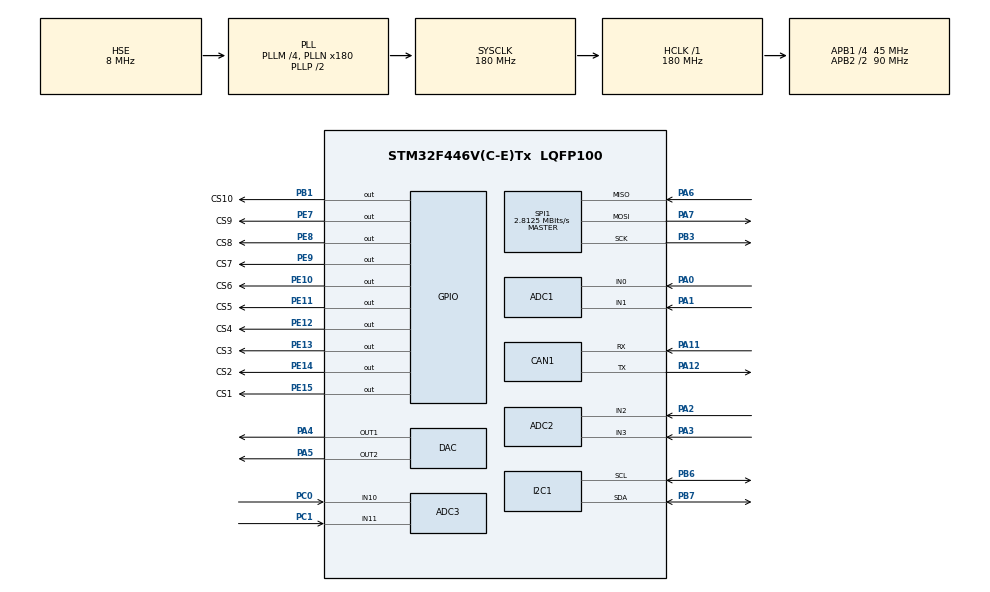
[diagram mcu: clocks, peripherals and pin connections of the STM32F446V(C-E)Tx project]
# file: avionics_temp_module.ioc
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ADC1.Channel-0\#ChannelRegularConversion=ADC_CHANNEL_0
ADC1.ClockPrescaler=ADC_CLOCK_SYNC_PCLK_DIV4
ADC1.NbrOfConversionFlag=1
ADC1.Rank-0\#ChannelRegularConversion=1
ADC1.SamplingTime-0\#ChannelRegularConversion=ADC_SAMPLETIME_3CYCLES
ADC1.master=1
ADC2.Channel-10\#ChannelRegularConversion=ADC_CHANNEL_2
ADC2.ClockPrescaler=ADC_CLOCK_SYNC_PCLK_DIV4
ADC2.NbrOfConversionFlag=1
ADC2.Rank-10\#ChannelRegularConversion=1
ADC2.SamplingTime-10\#ChannelRegularConversion=ADC_SAMPLETIME_3CYCLES
ADC3.Channel-4\#ChannelRegularConversion=ADC_CHANNEL_10
ADC3.ClockPrescaler=ADC_CLOCK_SYNC_PCLK_DIV4
ADC3.NbrOfConversionFlag=1
ADC3.Rank-4\#ChannelRegularConversion=1
ADC3.SamplingTime-4\#ChannelRegularConversion=ADC_SAMPLETIME_3CYCLES
CAN1.BS1=CAN_BS1_1TQ
CAN1.BS2=CAN_BS2_1TQ
CAN1.CalculateTimeBit=1066
CAN1.CalculateTimeQuantum=355.55555555555554
Mcu.Family=STM32F4
Mcu.Name=STM32F446V(C-E)Tx
Mcu.Package=LQFP100
NVIC.PriorityGroup=NVIC_PRIORITYGROUP_4
PA0-WKUP.Signal=ADCx_IN0
PA1.Signal=ADCx_IN1
PA11.Mode=Master
PA11.Signal=CAN1_RX
PA12.Mode=Master
PA12.Signal=CAN1_TX
PA13.Mode=Serial_Wire
PA13.Signal=SYS_JTMS-SWDIO
PA14.Mode=Serial_Wire
PA14.Signal=SYS_JTCK-SWCLK
PA2.Signal=ADCx_IN2
PA3.Signal=ADCx_IN3
PA4.Signal=COMP_DAC1_group
PA5.Signal=COMP_DAC2_group
PA6.Mode=Full_Duplex_Master
PA6.Signal=SPI1_MISO
PA7.Mode=Full_Duplex_Master
PA7.Signal=SPI1_MOSI
PB1.GPIO_Label=CS10
PB1.PinState=GPIO_PIN_SET
PB1.Signal=GPIO_Output
PB3.Mode=Full_Duplex_Master
PB3.Signal=SPI1_SCK
PB6.Mode=I2C
PB6.Signal=I2C1_SCL
PB7.Mode=I2C
PB7.Signal=I2C1_SDA
PC0.Signal=ADCx_IN10
PC1.Signal=ADCx_IN11
PE10.GPIO_Label=CS6
PE10.PinState=GPIO_PIN_SET
PE10.Signal=GPIO_Output
PE11.GPIO_Label=CS5
PE11.PinState=GPIO_PIN_SET
PE11.Signal=GPIO_Output
PE12.GPIO_Label=CS4
PE12.PinState=GPIO_PIN_SET
PE12.Signal=GPIO_Output
PE13.GPIO_Label=CS3
PE13.PinState=GPIO_PIN_SET
PE13.Signal=GPIO_Output
PE14.GPIO_Label=CS2
PE14.PinState=GPIO_PIN_SET
PE14.Signal=GPIO_Output
PE15.GPIO_Label=CS1
PE15.PinState=GPIO_PIN_SET
PE15.Signal=GPIO_Output
PE7.GPIO_Label=CS9
PE7.PinState=GPIO_PIN_SET
PE7.Signal=GPIO_Output
PE8.GPIO_Label=CS8
PE8.PinState=GPIO_PIN_SET
PE8.Signal=GPIO_Output
PE9.GPIO_Label=CS7
PE9.PinState=GPIO_PIN_SET
PE9.Signal=GPIO_Output
PH0-OSC_IN.Mode=HSE-External-Oscillator
PH0-OSC_IN.Signal=RCC_OSC_IN
PH1-OSC_OUT.Mode=HSE-External-Oscillator
PH1-OSC_OUT.Signal=RCC_OSC_OUT
ProjectManager.HeapSize=0x200
ProjectManager.StackSize=0x400
ProjectManager.TargetToolchain=TrueSTUDIO
RCC.AHBFreq_Value=180000000
RCC.APB1CLKDivider=RCC_HCLK_DIV4
RCC.APB1Freq_Value=45000000
RCC.APB1TimFreq_Value=90000000
RCC.APB2CLKDivider=RCC_HCLK_DIV2
RCC.APB2Freq_Value=90000000
RCC.APB2TimFreq_Value=180000000
RCC.CortexFreq_Value=180000000
RCC.HCLKFreq_Value=180000000
RCC.HSE_VALUE=8000000
RCC.PLLM=4
RCC.PLLN=180
RCC.PLLSourceVirtual=RCC_PLLSOURCE_HSE
RCC.SYSCLKFreq_VALUE=180000000
RCC.SYSCLKSource=RCC_SYSCLKSOURCE_PLLCLK
RCC.USBFreq_Value=180000000
RCC.VCOOutputFreq_Value=360000000
SH.ADCx_IN0.0=ADC1_IN0,IN0
SH.ADCx_IN1.0=ADC1_IN1,IN1
SH.ADCx_IN10.0=ADC3_IN10,IN10
SH.ADCx_IN11.0=ADC3_IN11,IN11
SH.ADCx_IN2.0=ADC2_IN2,IN2
SH.ADCx_IN3.0=ADC2_IN3,IN3
SH.COMP_DAC1_group.0=DAC_OUT1,DAC_OUT1
SH.COMP_DAC2_group.0=DAC_OUT2,DAC_OUT2
SPI1.BaudRatePrescaler=SPI_BAUDRATEPRESCALER_32
SPI1.CLKPhase=SPI_PHASE_2EDGE
SPI1.CLKPolarity=SPI_POLARITY_HIGH
SPI1.CalculateBaudRate=2.8125 MBits/s
SPI1.DataSize=SPI_DATASIZE_8BIT
SPI1.Direction=SPI_DIRECTION_2LINES
SPI1.Mode=SPI_MODE_MASTER
SPI1.VirtualType=VM_MASTER
board=avionics_temp_module

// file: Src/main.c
/**
  ******************************************************************************
  * File Name          : main.c
  * Description        : Main program body
  ******************************************************************************
  ** This notice applies to any and all portions of this file
  * that are not between comment pairs USER CODE BEGIN and
  * USER CODE END. Other portions of this file, whether
  * inserted by the user or by software development tools
  * are owned by their respective copyright owners.
  *
  * COPYRIGHT(c) 2018 STMicroelectronics
  *
  * Redistribution and use in source and binary forms, with or without modification,
  * are permitted provided that the following conditions are met:
  *   1. Redistributions of source code must retain the above copyright notice,
  *      this list of conditions and the following disclaimer.
  *   2. Redistributions in binary form must reproduce the above copyright notice,
  *      this list of conditions and the following disclaimer in the documentation
  *      and/or other materials provided with the distribution.
  *   3. Neither the name of STMicroelectronics nor the names of its contributors
  *      may be used to endorse or promote products derived from this software
  *      without specific prior written permission.
  *
  * THIS SOFTWARE IS PROVIDED BY THE COPYRIGHT HOLDERS AND CONTRIBUTORS "AS IS"
  * AND ANY EXPRESS OR IMPLIED WARRANTIES, INCLUDING, BUT NOT LIMITED TO, THE
  * IMPLIED WARRANTIES OF MERCHANTABILITY AND FITNESS FOR A PARTICULAR PURPOSE ARE
  * DISCLAIMED. IN NO EVENT SHALL THE COPYRIGHT HOLDER OR CONTRIBUTORS BE LIABLE
  * FOR ANY DIRECT, INDIRECT, INCIDENTAL, SPECIAL, EXEMPLARY, OR CONSEQUENTIAL
  * DAMAGES (INCLUDING, BUT NOT LIMITED TO, PROCUREMENT OF SUBSTITUTE GOODS OR
  * SERVICES; LOSS OF USE, DATA, OR PROFITS; OR BUSINESS INTERRUPTION) HOWEVER
  * CAUSED AND ON ANY THEORY OF LIABILITY, WHETHER IN CONTRACT, STRICT LIABILITY,
  * OR TORT (INCLUDING NEGLIGENCE OR OTHERWISE) ARISING IN ANY WAY OUT OF THE USE
  * OF THIS SOFTWARE, EVEN IF ADVISED OF THE POSSIBILITY OF SUCH DAMAGE.
  *
  ******************************************************************************
  */

#include "main.h"
#include "stm32f4xx_hal.h"
#include "adc.h"
#include "can.h"
#include "dac.h"
#include "i2c.h"
#include "spi.h"
#include "gpio.h"

/* USER CODE BEGIN Includes */

//#include "mycan.h"

#define BOARD_ID 2
#define NUM_REGISTERS 12

/* USER CODE END Includes */

/* USER CODE BEGIN PV */
/* Private variables ---------------------------------------------------------*/

/* USER CODE END PV */

void SystemClock_Config(void);

/* USER CODE BEGIN PFP */
/* Private function prototypes -----------------------------------------------*/

/* USER CODE END PFP */

/* USER CODE BEGIN 0 */

void init_max(int number) {

	uint8_t reg[] = {0x00,0x03,0xff,0x7f,0xc0,0x7f,0xff,0x80,0,0,0,0};

	for (int i = 0; i < NUM_REGISTERS; i++) {

		uint8_t write_reg[] = { i+0x80, reg[i] };
		uint8_t received_data[2];

		HAL_GPIO_WritePin(CS1_GPIO_Port, CS1_Pin, 0);
	    HAL_SPI_TransmitReceive(&hspi1, (uint8_t *) write_reg, (uint8_t *) received_data, 2, HAL_MAX_DELAY);
	    HAL_GPIO_WritePin(CS1_GPIO_Port, CS1_Pin, 1);
	    HAL_Delay(150);
	}

}

/* USER CODE END 0 */

int main(void)
{

  /* MCU Configuration----------------------------------------------------------*/

  /* Reset of all peripherals, Initializes the Flash interface and the Systick. */
  HAL_Init();

  /* Configure the system clock */
  SystemClock_Config();

  /* Initialize all configured peripherals */
  MX_GPIO_Init();
  MX_ADC1_Init();
  MX_ADC2_Init();
  MX_ADC3_Init();
  MX_CAN1_Init();
  MX_DAC_Init();
  MX_I2C1_Init();
  MX_SPI1_Init();

  /* USER CODE BEGIN 2 */
 // Init_MyCAN();

  uint8_t test[2] = {0x01, 0};
  uint8_t start_conversion[2] = {0x80, 0b1000000};
  uint8_t received_data[2];

  uint8_t temp_address[5] = {0x0C, 0, 0, 0, 0};
  uint8_t received_temp[5] = {0};

  uint8_t reg_check[12] = {0, 0,0,0,0,0,0,0,0,0,0,0};
  uint8_t reg_vals[12] = {0};

  /* USER CODE END 2 */

  /* Infinite loop */
  /* USER CODE BEGIN WHILE */
  HAL_GPIO_WritePin(CS1_GPIO_Port, CS1_Pin, 1);
  HAL_GPIO_WritePin(CS2_GPIO_Port, CS2_Pin, 1);
  HAL_GPIO_WritePin(CS3_GPIO_Port, CS3_Pin, 1);
  HAL_GPIO_WritePin(CS4_GPIO_Port, CS4_Pin, 1);
  HAL_GPIO_WritePin(CS5_GPIO_Port, CS5_Pin, 1);
  HAL_GPIO_WritePin(CS6_GPIO_Port, CS6_Pin, 1);
  HAL_GPIO_WritePin(CS7_GPIO_Port, CS7_Pin, 1);
  HAL_GPIO_WritePin(CS8_GPIO_Port, CS8_Pin, 1);
  HAL_GPIO_WritePin(CS9_GPIO_Port, CS9_Pin, 1);
  HAL_GPIO_WritePin(CS10_GPIO_Port, CS10_Pin, 1);

  //init_max(1);

  while (1)
  {

	  HAL_GPIO_WritePin(CS1_GPIO_Port, CS1_Pin, 0);
	  HAL_SPI_TransmitReceive(&hspi1, (uint8_t *) test, (uint8_t *) received_data, 2, HAL_MAX_DELAY);
	  HAL_GPIO_WritePin(CS1_GPIO_Port, CS1_Pin, 1);
	  HAL_Delay(150);

	  HAL_GPIO_WritePin(CS1_GPIO_Port, CS1_Pin, 0);
	  HAL_SPI_TransmitReceive(&hspi1, (uint8_t *) start_conversion, (uint8_t *) received_data, 2, HAL_MAX_DELAY);
	  HAL_GPIO_WritePin(CS1_GPIO_Port, CS1_Pin, 1);
	  HAL_Delay(250);

	  HAL_GPIO_WritePin(CS1_GPIO_Port, CS1_Pin, 0);
	  HAL_SPI_TransmitReceive(&hspi1, (uint8_t *) temp_address, (uint8_t *) received_temp, 5, HAL_MAX_DELAY);
	  HAL_GPIO_WritePin(CS1_GPIO_Port, CS1_Pin, 1);
	  HAL_Delay(150);

	  HAL_GPIO_WritePin(CS1_GPIO_Port, CS1_Pin, 0);
	  HAL_SPI_TransmitReceive(&hspi1, (uint8_t *) reg_check, (uint8_t *) reg_vals, 12, HAL_MAX_DELAY);
	  HAL_GPIO_WritePin(CS1_GPIO_Port, CS1_Pin, 1);
	  HAL_Delay(150);

	  int32_t temp24 = received_temp[1] << 16 | received_temp[2] << 8 | received_temp[3];
	  if (temp24 & 0x800000)
	  {
		  temp24 |= 0xFF000000; //fix sign
	  }

	  temp24 >>= 5;

	  float tempfloat = temp24;
	  tempfloat *= 0.0078125;
	  tempfloat += 273.15;

	  int sensorNum = 1;
/*	  uint16_t msgID = create_ID(BOARD_ID, sensorNum);
	  can_msg_t msg;

*/
	  uint16_t value = tempfloat*32;
/*	  CAN_short_msg(&msg, msgID, value);

	  while(!CAN_can_transmit()){};

	  CAN_queue_transmit(&msg);

*/
	  volatile int var = 0;

  /* USER CODE END WHILE */

  }

}

/** System Clock Configuration
*/
void SystemClock_Config(void)
{

  RCC_OscInitTypeDef RCC_OscInitStruct;
  RCC_ClkInitTypeDef RCC_ClkInitStruct;

    /**Configure the main internal regulator output voltage
    */
  __HAL_RCC_PWR_CLK_ENABLE();

  __HAL_PWR_VOLTAGESCALING_CONFIG(PWR_REGULATOR_VOLTAGE_SCALE1);

    /**Initializes the CPU, AHB and APB busses clocks
    */
  RCC_OscInitStruct.OscillatorType = RCC_OSCILLATORTYPE_HSE;
  RCC_OscInitStruct.HSEState = RCC_HSE_ON;
  RCC_OscInitStruct.PLL.PLLState = RCC_PLL_ON;
  RCC_OscInitStruct.PLL.PLLSource = RCC_PLLSOURCE_HSE;
  RCC_OscInitStruct.PLL.PLLM = 4;
  RCC_OscInitStruct.PLL.PLLN = 180;
  RCC_OscInitStruct.PLL.PLLP = RCC_PLLP_DIV2;
  RCC_OscInitStruct.PLL.PLLQ = 2;
  RCC_OscInitStruct.PLL.PLLR = 2;
  if (HAL_RCC_OscConfig(&RCC_OscInitStruct) != HAL_OK)
  {
    _Error_Handler(__FILE__, __LINE__);
  }

    /**Activate the Over-Drive mode
    */
  if (HAL_PWREx_EnableOverDrive() != HAL_OK)
  {
    _Error_Handler(__FILE__, __LINE__);
  }

    /**Initializes the CPU, AHB and APB busses clocks
    */
  RCC_ClkInitStruct.ClockType = RCC_CLOCKTYPE_HCLK|RCC_CLOCKTYPE_SYSCLK
                              |RCC_CLOCKTYPE_PCLK1|RCC_CLOCKTYPE_PCLK2;
  RCC_ClkInitStruct.SYSCLKSource = RCC_SYSCLKSOURCE_PLLCLK;
  RCC_ClkInitStruct.AHBCLKDivider = RCC_SYSCLK_DIV1;
  RCC_ClkInitStruct.APB1CLKDivider = RCC_HCLK_DIV4;
  RCC_ClkInitStruct.APB2CLKDivider = RCC_HCLK_DIV2;

  if (HAL_RCC_ClockConfig(&RCC_ClkInitStruct, FLASH_LATENCY_5) != HAL_OK)
  {
    _Error_Handler(__FILE__, __LINE__);
  }

    /**Configure the Systick interrupt time
    */
  HAL_SYSTICK_Config(HAL_RCC_GetHCLKFreq()/1000);

    /**Configure the Systick
    */
  HAL_SYSTICK_CLKSourceConfig(SYSTICK_CLKSOURCE_HCLK);

  /* SysTick_IRQn interrupt configuration */
  HAL_NVIC_SetPriority(SysTick_IRQn, 0, 0);
}

void _Error_Handler(char * file, int line)
{
  while(1)
  {
  }
}

/************************ (C) COPYRIGHT STMicroelectronics *****END OF FILE****/
